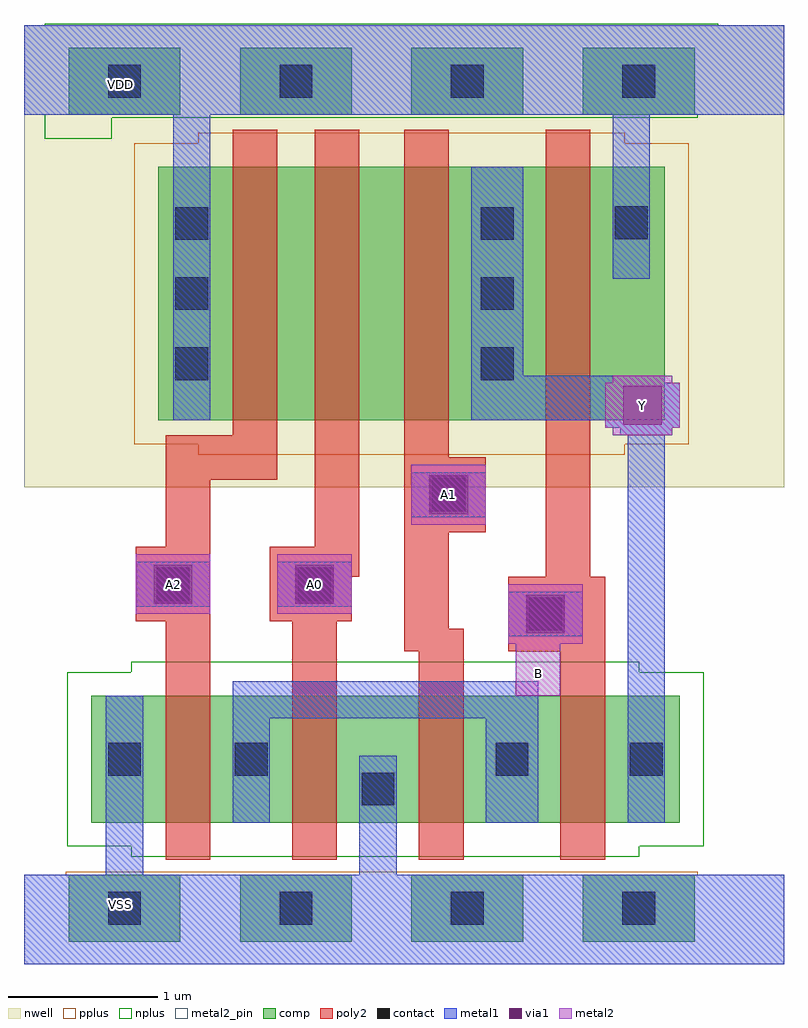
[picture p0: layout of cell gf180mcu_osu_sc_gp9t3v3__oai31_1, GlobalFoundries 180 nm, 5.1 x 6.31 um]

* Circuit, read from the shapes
.subckt gf180mcu_osu_sc_gp9t3v3__oai31_1 A0 A1 A2 B VDD VSS Y
XM1 n1 A2 VSS VSS nfet_03v3 w=0.85u l=0.3u
XM2 VSS A0 n1 VSS nfet_03v3 w=0.85u l=0.3u
XM3 n1 A1 VSS VSS nfet_03v3 w=0.85u l=0.3u
XM4 Y B n1 VSS nfet_03v3 w=0.85u l=0.3u
XM5 n2 A2 VDD VDD pfet_03v3 w=1.7u l=0.3u
XM6 n3 A0 n2 VDD pfet_03v3 w=1.7u l=0.3u
XM7 Y A1 n3 VDD pfet_03v3 w=1.7u l=0.3u
XM8 VDD B Y VDD pfet_03v3 w=1.7u l=0.3u
.ends

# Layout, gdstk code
import gdstk
lib = gdstk.Library(unit=1e-6, precision=1e-09)
def R(c, l, rs):  # rectangles x0, y0, x1, y1
    for r in rs: c.add(gdstk.rectangle(r[:2], r[2:], *l))
def A(c, l, x, y, w, h, nx, ny, dx, dy):  # array of equal rectangles
    R(c, l, [(x+i*dx, y+j*dy, x+i*dx+w, y+j*dy+h) for i in range(nx) for j in range(ny)])
nwell = (21, 0)
comp = (22, 0)
poly2 = (30, 0)
pplus = (31, 0)
nplus = (32, 0)
contact = (33, 0)
metal1 = (34, 0)
via1 = (35, 0)
metal2 = (36, 0)
metal2_pin = (36, 10)

gf180mcu_osu_sc_gp9t3v3_ = lib.new_cell('gf180mcu_osu_sc_gp9t3v3__oai31_1')
R(gf180mcu_osu_sc_gp9t3v3_, nwell, [(0,3.2,5.1,6.3)])
A(gf180mcu_osu_sc_gp9t3v3_, comp, 0.3, 0.15, 0.75, 0.45, 4, 2, 1.15, 5.55)
R(gf180mcu_osu_sc_gp9t3v3_, comp, [(0.45,0.95,4.4,1.8), (0.9,3.65,4.3,5.35)])
R(gf180mcu_osu_sc_gp9t3v3_, poly2, [(0.95,0.7,1.25,2.3), (1.8,0.7,2.1,2.3), (2.65,0.7,2.95,2.1), (3.6,0.7,3.9,2.1), (2.55,2.1,2.95,2.25), (3.25,2.1,3.9,2.6), (2.55,2.25,2.85,2.9), (0.75,2.3,1.25,2.8), (1.65,2.3,2.2,2.6), (1.65,2.6,2.25,2.8), (3.5,2.6,3.8,5.6), (0.95,2.8,1.25,3.25), (1.95,2.8,2.25,5.6), (2.55,2.9,3.1,3.4), (0.95,3.25,1.7,3.55), (2.55,3.4,2.85,5.6), (1.4,3.55,1.7,5.6)])
R(gf180mcu_osu_sc_gp9t3v3_, pplus, [(0,0,5.1,0.6), (0.28,0.13,4.52,0.62), (1.17,3.42,4.03,3.49), (0.74,3.49,4.46,5.51), (1.17,5.51,4.03,5.58)])
R(gf180mcu_osu_sc_gp9t3v3_, nplus, [(0.72,0.72,4.13,0.79), (0.29,0.79,4.56,1.96), (0.72,1.96,4.13,2.03), (0.14,5.54,0.59,5.68), (0.14,5.68,4.52,5.7), (0,5.7,5.1,6.3), (0,5.7,5.1,6.3), (0.14,6.3,4.66,6.31)])
A(gf180mcu_osu_sc_gp9t3v3_, contact, 0.565, 0.265, 0.22, 0.22, 4, 2, 1.15, 5.55)
A(gf180mcu_osu_sc_gp9t3v3_, contact, 1.015, 3.92, 0.22, 0.22, 1, 3, 0, 0.47)
A(gf180mcu_osu_sc_gp9t3v3_, contact, 3.065, 3.92, 0.22, 0.22, 1, 3, 0, 0.47)
R(gf180mcu_osu_sc_gp9t3v3_, contact, [(2.265,1.065,2.485,1.285), (0.565,1.265,0.785,1.485), (1.415,1.265,1.635,1.485), (3.165,1.265,3.385,1.485), (4.065,1.265,4.285,1.485), (3.39,2.24,3.61,2.46), (0.89,2.44,1.11,2.66), (1.84,2.44,2.06,2.66), (2.74,3.04,2.96,3.26), (3.965,4.865,4.185,5.085)])
R(gf180mcu_osu_sc_gp9t3v3_, metal1, [(0,0,5.1,0.6), (0.55,0.6,0.8,1.8), (2.25,0.6,2.5,1.4), (1.4,0.95,1.65,1.65), (3.1,0.95,3.45,1.65), (4.05,0.95,4.3,3.55), (1.4,1.65,3.45,1.9), (3.25,2.2,3.75,2.5), (0.75,2.4,1.25,2.7), (1.7,2.4,2.2,2.7), (2.6,3,3.1,3.3), (4,3.55,4.35,3.6), (3.9,3.6,4.4,3.65), (1,3.65,1.25,5.7), (3,3.65,4.4,3.9), (3,3.9,4.3,3.95), (3,3.95,3.35,5.35), (3.95,4.6,4.2,5.7), (0,5.7,5.1,6.3)])
R(gf180mcu_osu_sc_gp9t3v3_, via1, [(3.37,2.22,3.63,2.48), (0.87,2.42,1.13,2.68), (1.82,2.42,2.08,2.68), (2.72,3.02,2.98,3.28), (4.02,3.62,4.28,3.88)])
R(gf180mcu_osu_sc_gp9t3v3_, metal2, [(3.3,1.8,3.6,2.15), (3.25,2.15,3.75,2.55), (0.75,2.35,1.25,2.75), (1.7,2.35,2.2,2.75), (2.6,2.95,3.1,3.35), (3.95,3.55,4.35,3.6), (3.9,3.6,4.4,3.9), (3.95,3.9,4.35,3.95)])
R(gf180mcu_osu_sc_gp9t3v3_, metal2_pin, [(3.3,1.8,3.6,2.1)])
gf180mcu_osu_sc_gp9t3v3_.add(gdstk.Label('A0', (1.95,2.55), layer=36, texttype=10))
gf180mcu_osu_sc_gp9t3v3_.add(gdstk.Label('A1', (2.85,3.15), layer=36, texttype=10))
gf180mcu_osu_sc_gp9t3v3_.add(gdstk.Label('A2', (1,2.55), layer=36, texttype=10))
gf180mcu_osu_sc_gp9t3v3_.add(gdstk.Label('B', (3.45,1.95), layer=36, texttype=10))
gf180mcu_osu_sc_gp9t3v3_.add(gdstk.Label('Y', (4.15,3.75), layer=36, texttype=10))
gf180mcu_osu_sc_gp9t3v3_.add(gdstk.Label('VDD', (0.65,5.9), layer=22, texttype=0))
gf180mcu_osu_sc_gp9t3v3_.add(gdstk.Label('VSS', (0.65,0.4), layer=22, texttype=0))

lib.write_gds('gf180mcu_osu_sc_gp9t3v3__oai31_1.gds')
